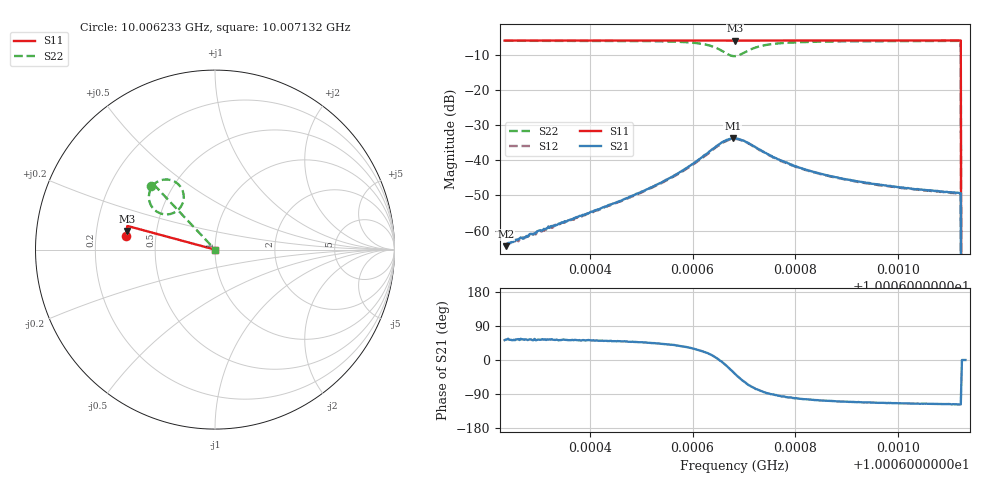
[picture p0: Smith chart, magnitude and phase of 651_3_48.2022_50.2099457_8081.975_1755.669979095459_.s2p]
#  HZ  S  RI  R  50.00
! Rohde & Schwarz Vector Network Analyzer
! Rohde-Schwarz,ZNB20-2Port,1311601062101988,3.16
! Created: UTC 3/20/2024, 12:05:14 PM
! freq[Hz]  re:S11  im:S11  re:S21  im:S21  re:S12  im:S12  re:S22  im:S22
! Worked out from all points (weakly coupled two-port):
!   401 points, 10.006233 GHz to 10.007132 GHz, reference 50 ohm
!   highest |S21| = -33.79 dB at 10.006678 GHz (marker M1); lowest = -64.4 dB at 10.006236 GHz (marker M2)
!   lowest |S11| = -6.0 dB at 10.006683 GHz (marker M3), VSWR 3.02, Z = 16.7 + j4.62 ohm
!   |S11| at or under -10 dB: 10.007123 GHz to end of sweep
!   |S22| runs from - to -6.0 dB; largest |S21 - S12| = 0.0015
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1.00062333e10  -0.4981 0.0752  0.000383 0.000497  0.000332 0.000508  -0.3549 0.3517
1.00062356e10  -0.4979 0.0753  0.000353 0.000485  0.000368 0.000504  -0.3545 0.3516
1.00062738e10  -0.4977 0.0779  0.000465 0.000657  0.00045 0.000666  -0.3515 0.3549
1.00063007e10  -0.4975 0.0796  0.000592 0.000806  0.000519 0.000822  -0.3491 0.357
1.00063839e10  -0.4967 0.0852  0.00102 0.00129  0.000931 0.00129  -0.3404 0.365
1.00064603e10  -0.4958 0.0902  0.00172 0.002  0.0016 0.00206  -0.3283 0.3738
1.00065345e10  -0.4951 0.0951  0.00339 0.00321  0.00314 0.00327  -0.3068 0.3846
1.00065817e10  -0.4943 0.0983  0.00588 0.00419  0.00549 0.00439  -0.2791 0.3906
1.00066289e10  -0.4931 0.1015  0.0119 0.00396  0.0114 0.00443  -0.2204 0.3763
1.00066581e10  -0.492 0.1028  0.018 -0.00182  0.0175 -0.00066  -0.1756 0.3113
1.00066783e10  -0.4917 0.1032  0.0176 -0.0104  0.018 -0.00891  -0.1954 0.2322
1.00066828e10  -0.4916 0.1034  0.0164 -0.0121  0.0169 -0.0107  -0.2095 0.2181
1.0006703e10  -0.4921 0.1041  0.00937 -0.0158  0.0102 -0.015  -0.2849 0.1968
1.00067345e10  -0.4925 0.1061  0.00186 -0.0136  0.00245 -0.0134  -0.3507 0.2371
1.00067615e10  -0.4926 0.108  -0.000459 -0.0108  8.05e-05 -0.0107  -0.3657 0.2703
1.00067817e10  -0.4924 0.1094  -0.00125 -0.00921  -0.00073 -0.00915  -0.3683 0.2879
1.00068334e10  -0.4919 0.1129  -0.0018 -0.00668  -0.00145 -0.00668  -0.3658 0.316
1.00068963e10  -0.491 0.1172  -0.00185 -0.0051  -0.00158 -0.0051  -0.3596 0.3342
1.00069839e10  -0.4898 0.1229  -0.00173 -0.00395  -0.00155 -0.00396  -0.3518 0.3488
1.00071188e10  -0.488 0.1315  -0.00159 -0.00306  -0.00132 -0.00313  -0.3419 0.3627
1.000713e10  0 0  0 0  0 0  0 0
1.00071323e10  0 0  0 0  0 0  0 0
